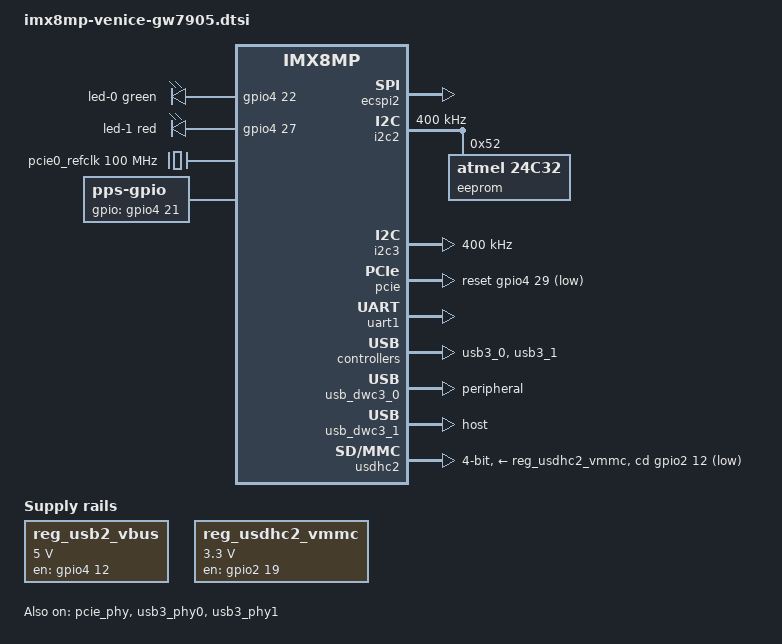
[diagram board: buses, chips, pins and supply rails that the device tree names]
// SPDX-License-Identifier: (GPL-2.0+ OR MIT)
/*
 * Copyright 2023 Gateworks Corporation
 */

#include <dt-bindings/gpio/gpio.h>
#include <dt-bindings/leds/common.h>
#include <dt-bindings/phy/phy-imx8-pcie.h>

/ {
	led-controller {
		compatible = "gpio-leds";
		pinctrl-names = "default";
		pinctrl-0 = <&pinctrl_gpio_leds>;

		led-0 {
			function = LED_FUNCTION_STATUS;
			color = <LED_COLOR_ID_GREEN>;
			gpios = <&gpio4 22 GPIO_ACTIVE_HIGH>;
			default-state = "on";
			linux,default-trigger = "heartbeat";
		};

		led-1 {
			function = LED_FUNCTION_STATUS;
			color = <LED_COLOR_ID_RED>;
			gpios = <&gpio4 27 GPIO_ACTIVE_HIGH>;
			default-state = "off";
		};
	};

	pcie0_refclk: pcie0-refclk {
		compatible = "fixed-clock";
		#clock-cells = <0>;
		clock-frequency = <100000000>;
	};

	pps {
		compatible = "pps-gpio";
		pinctrl-names = "default";
		pinctrl-0 = <&pinctrl_pps>;
		gpios = <&gpio4 21 GPIO_ACTIVE_HIGH>;
		status = "okay";
	};

	reg_usb2_vbus: regulator-usb2-vbus {
		pinctrl-names = "default";
		pinctrl-0 = <&pinctrl_reg_usb2_en>;
		compatible = "regulator-fixed";
		regulator-name = "usb2_vbus";
		gpio = <&gpio4 12 GPIO_ACTIVE_HIGH>;
		enable-active-high;
		regulator-min-microvolt = <5000000>;
		regulator-max-microvolt = <5000000>;
	};

	reg_usdhc2_vmmc: regulator-usdhc2 {
		pinctrl-names = "default";
		pinctrl-0 = <&pinctrl_reg_usdhc2_vmmc>;
		compatible = "regulator-fixed";
		regulator-name = "SD2_3P3V";
		regulator-min-microvolt = <3300000>;
		regulator-max-microvolt = <3300000>;
		gpio = <&gpio2 19 GPIO_ACTIVE_HIGH>;
		enable-active-high;
	};
};

/* off-board header */
&ecspi2 {
	pinctrl-names = "default";
	pinctrl-0 = <&pinctrl_spi2>;
	cs-gpios = <&gpio5 13 GPIO_ACTIVE_LOW>;
	status = "okay";
};

&gpio4 {
	gpio-line-names =
		"", "", "", "",
		"", "", "", "",
		"", "", "", "",
		"", "gpioa", "", "",
		"", "", "", "",
		"", "", "", "",
		"", "", "", "",
		"", "", "", "";
};

&gpio4 {
	gpio-line-names =
		"", "gpiod", "", "",
		"gpiob", "gpioc", "", "",
		"", "", "", "",
		"", "", "", "",
		"", "", "", "",
		"", "", "", "",
		"", "", "pci_usb_sel", "",
		"pci_wdis#", "", "", "";
};

&i2c2 {
	clock-frequency = <400000>;
	pinctrl-names = "default";
	pinctrl-0 = <&pinctrl_i2c2>;
	status = "okay";

	eeprom@52 {
		compatible = "atmel,24c32";
		reg = <0x52>;
		pagesize = <32>;
	};
};

/* off-board header */
&i2c3 {
	clock-frequency = <400000>;
	pinctrl-names = "default";
	pinctrl-0 = <&pinctrl_i2c3>;
	status = "okay";
};

&pcie_phy {
	fsl,refclk-pad-mode = <IMX8_PCIE_REFCLK_PAD_INPUT>;
	fsl,clkreq-unsupported;
	clocks = <&pcie0_refclk>;
	clock-names = "ref";
	status = "okay";
};

&pcie {
	pinctrl-names = "default";
	pinctrl-0 = <&pinctrl_pcie0>;
	reset-gpio = <&gpio4 29 GPIO_ACTIVE_LOW>;
	status = "okay";
};

/* GPS */
&uart1 {
	pinctrl-names = "default";
	pinctrl-0 = <&pinctrl_uart1>;
	status = "okay";
};

/* USB1 - Type C front panel SINK port J14 */
&usb3_0 {
	status = "okay";
};

&usb3_phy0 {
	status = "okay";
};

&usb_dwc3_0 {
	dr_mode = "peripheral";
	status = "okay";
};

/* USB2 4-port USB3.0 HUB:
 *  P1 - USBC connector (host only)
 *  P2 - USB2 test connector
 *  P3 - miniPCIe full card
 *  P4 - miniPCIe half card
 */
&usb3_phy1 {
	vbus-supply = <&reg_usb2_vbus>;
	status = "okay";
};

&usb3_1 {
	fsl,permanently-attached;
	fsl,disable-port-power-control;
	status = "okay";
};

&usb_dwc3_1 {
	dr_mode = "host";
	status = "okay";
};

/* microSD */
&usdhc2 {
	pinctrl-names = "default", "state_100mhz", "state_200mhz";
	pinctrl-0 = <&pinctrl_usdhc2>, <&pinctrl_usdhc2_gpio>;
	pinctrl-1 = <&pinctrl_usdhc2_100mhz>, <&pinctrl_usdhc2_gpio>;
	pinctrl-2 = <&pinctrl_usdhc2_200mhz>, <&pinctrl_usdhc2_gpio>;
	cd-gpios = <&gpio2 12 GPIO_ACTIVE_LOW>;
	vmmc-supply = <&reg_usdhc2_vmmc>;
	bus-width = <4>;
	status = "okay";
};

&iomuxc {
	pinctrl-names = "default";
	pinctrl-0 = <&pinctrl_hog>;

	pinctrl_hog: hoggrp {
		fsl,pins = <
			MX8MP_IOMUXC_GPIO1_IO13__GPIO1_IO13	0x40000040 /* GPIOA */
			MX8MP_IOMUXC_SAI1_RXC__GPIO4_IO01	0x40000040 /* GPIOD */
			MX8MP_IOMUXC_SAI1_RXD2__GPIO4_IO04	0x40000040 /* GPIOB */
			MX8MP_IOMUXC_SAI1_RXD3__GPIO4_IO05	0x40000040 /* GPIOC */
			MX8MP_IOMUXC_SAI2_TXD0__GPIO4_IO26	0x40000106 /* PCI_USBSEL */
			MX8MP_IOMUXC_SAI3_RXFS__GPIO4_IO28	0x40000106 /* PCI_WDIS# */
		>;
	};

	pinctrl_gpio_leds: gpioledgrp {
		fsl,pins = <
			MX8MP_IOMUXC_SAI2_RXC__GPIO4_IO22	0x6	/* LEDG */
			MX8MP_IOMUXC_SAI2_MCLK__GPIO4_IO27	0x6	/* LEDR */
		>;
	};

	pinctrl_i2c2: i2c2grp {
		fsl,pins = <
			MX8MP_IOMUXC_I2C2_SCL__I2C2_SCL		0x400001c2
			MX8MP_IOMUXC_I2C2_SDA__I2C2_SDA		0x400001c2
		>;
	};

	pinctrl_i2c3: i2c3grp {
		fsl,pins = <
			MX8MP_IOMUXC_I2C3_SCL__I2C3_SCL		0x400001c2
			MX8MP_IOMUXC_I2C3_SDA__I2C3_SDA		0x400001c2
		>;
	};

	pinctrl_pcie0: pciegrp {
		fsl,pins = <
			MX8MP_IOMUXC_SAI3_RXC__GPIO4_IO29	0x106
		>;
	};

	pinctrl_pps: ppsgrp {
		fsl,pins = <
			MX8MP_IOMUXC_SAI2_RXFS__GPIO4_IO21	0x106
		>;
	};

	pinctrl_reg_usb2_en: regusb2grp {
		fsl,pins = <
			MX8MP_IOMUXC_SAI1_TXD0__GPIO4_IO12	0x6 /* USBHUB_RST# (ext p/u) */
		>;
	};

	pinctrl_reg_usdhc2_vmmc: regusdhc2vmmcgrp {
		fsl,pins = <
			MX8MP_IOMUXC_SD2_RESET_B__GPIO2_IO19	0x40
		>;
	};

	pinctrl_spi2: spi2grp {
		fsl,pins = <
			MX8MP_IOMUXC_ECSPI2_SCLK__ECSPI2_SCLK	0x140
			MX8MP_IOMUXC_ECSPI2_MOSI__ECSPI2_MOSI	0x140
			MX8MP_IOMUXC_ECSPI2_MISO__ECSPI2_MISO	0x140
			MX8MP_IOMUXC_ECSPI2_SS0__GPIO5_IO13	0x140
		>;
	};

	pinctrl_uart1: uart1grp {
		fsl,pins = <
			MX8MP_IOMUXC_UART1_RXD__UART1_DCE_RX	0x140
			MX8MP_IOMUXC_UART1_TXD__UART1_DCE_TX	0x140
		>;
	};

	pinctrl_usdhc2: usdhc2grp {
		fsl,pins = <
			MX8MP_IOMUXC_SD2_CLK__USDHC2_CLK		0x190
			MX8MP_IOMUXC_SD2_CMD__USDHC2_CMD		0x1d0
			MX8MP_IOMUXC_SD2_DATA0__USDHC2_DATA0		0x1d0
			MX8MP_IOMUXC_SD2_DATA1__USDHC2_DATA1		0x1d0
			MX8MP_IOMUXC_SD2_DATA2__USDHC2_DATA2		0x1d0
			MX8MP_IOMUXC_SD2_DATA3__USDHC2_DATA3		0x1d0
			MX8MP_IOMUXC_GPIO1_IO04__USDHC2_VSELECT		0xc0
		>;
	};

	pinctrl_usdhc2_100mhz: usdhc2-100mhzgrp {
		fsl,pins = <
			MX8MP_IOMUXC_SD2_CLK__USDHC2_CLK		0x194
			MX8MP_IOMUXC_SD2_CMD__USDHC2_CMD		0x1d4
			MX8MP_IOMUXC_SD2_DATA0__USDHC2_DATA0		0x1d4
			MX8MP_IOMUXC_SD2_DATA1__USDHC2_DATA1		0x1d4
			MX8MP_IOMUXC_SD2_DATA2__USDHC2_DATA2		0x1d4
			MX8MP_IOMUXC_SD2_DATA3__USDHC2_DATA3		0x1d4
			MX8MP_IOMUXC_GPIO1_IO04__USDHC2_VSELECT		0xc0
		>;
	};

	pinctrl_usdhc2_200mhz: usdhc2-200mhzgrp {
		fsl,pins = <
			MX8MP_IOMUXC_SD2_CLK__USDHC2_CLK		0x196
			MX8MP_IOMUXC_SD2_CMD__USDHC2_CMD		0x1d6
			MX8MP_IOMUXC_SD2_DATA0__USDHC2_DATA0		0x1d6
			MX8MP_IOMUXC_SD2_DATA1__USDHC2_DATA1		0x1d6
			MX8MP_IOMUXC_SD2_DATA2__USDHC2_DATA2		0x1d6
			MX8MP_IOMUXC_SD2_DATA3__USDHC2_DATA3		0x1d6
			MX8MP_IOMUXC_GPIO1_IO04__USDHC2_VSELECT		0xc0
		>;
	};

	pinctrl_usdhc2_gpio: usdhc2gpiogrp {
		fsl,pins = <
			MX8MP_IOMUXC_SD2_CD_B__GPIO2_IO12		0x1c4
		>;
	};
};
